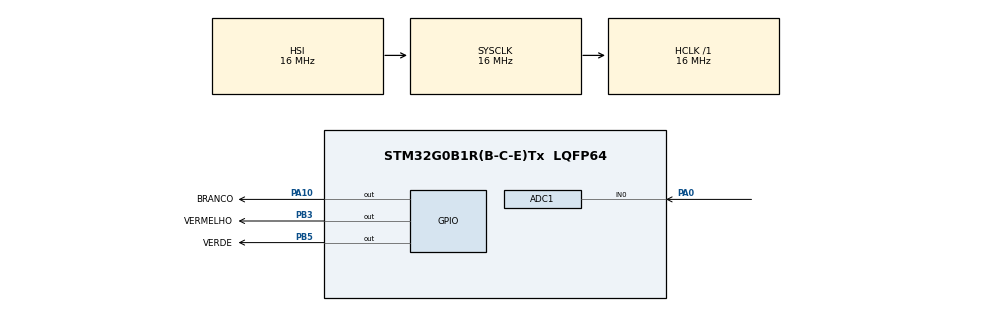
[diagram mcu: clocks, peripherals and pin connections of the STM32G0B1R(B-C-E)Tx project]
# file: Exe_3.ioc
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ADC1.Channel-2\#ChannelRegularConversion=ADC_CHANNEL_0
ADC1.ContinuousConvMode=ENABLE
ADC1.DMAContinuousRequests=ENABLE
ADC1.DiscontinuousConvMode=DISABLE
ADC1.NbrOfConversionFlag=1
ADC1.Rank-2\#ChannelRegularConversion=1
ADC1.SamplingTime-2\#ChannelRegularConversion=ADC_SAMPLINGTIME_COMMON_1
ADC1.SamplingTimeCommon1=ADC_SAMPLETIME_160CYCLES_5
ADC1.SamplingTimeCommon2=ADC_SAMPLETIME_160CYCLES_5
ADC1.SelectedChannel=ADC_CHANNEL_0
ADC1.master=1
Dma.ADC1.0.Direction=DMA_PERIPH_TO_MEMORY
Dma.ADC1.0.EventEnable=DISABLE
Dma.ADC1.0.Instance=DMA1_Channel1
Dma.ADC1.0.MemDataAlignment=DMA_MDATAALIGN_WORD
Dma.ADC1.0.MemInc=DMA_MINC_ENABLE
Dma.ADC1.0.Mode=DMA_CIRCULAR
Dma.ADC1.0.PeriphDataAlignment=DMA_PDATAALIGN_WORD
Dma.ADC1.0.PeriphInc=DMA_PINC_DISABLE
Dma.ADC1.0.Polarity=HAL_DMAMUX_REQ_GEN_RISING
Dma.ADC1.0.Priority=DMA_PRIORITY_LOW
Dma.ADC1.0.RequestNumber=1
Dma.ADC1.0.SignalID=NONE
Dma.ADC1.0.SyncEnable=DISABLE
Dma.ADC1.0.SyncPolarity=HAL_DMAMUX_SYNC_NO_EVENT
Dma.ADC1.0.SyncRequestNumber=1
Dma.ADC1.0.SyncSignalID=NONE
Dma.Request0=ADC1
Mcu.Family=STM32G0
Mcu.Name=STM32G0B1R(B-C-E)Tx
Mcu.Package=LQFP64
NVIC.DMA1_Channel1_IRQn=true\:0\:0\:false\:false\:true\:false\:true
PA0.Mode=IN0
PA0.Signal=ADC1_IN0
PA10.GPIO_Label=BRANCO
PA10.Signal=GPIO_Output
PA13.Mode=Serial_Wire
PA13.Signal=SYS_SWDIO
PA14-BOOT0.Mode=Serial_Wire
PA14-BOOT0.Signal=SYS_SWCLK
PB3.GPIO_Label=VERMELHO
PB3.Signal=GPIO_Output
PB5.GPIO_Label=VERDE
PB5.Signal=GPIO_Output
ProjectManager.HeapSize=0x200
ProjectManager.StackSize=0x400
ProjectManager.TargetToolchain=STM32CubeIDE
RCC.AHBFreq_Value=16000000
RCC.CortexFreq_Value=16000000
RCC.EXTERNAL_CLOCK_VALUE=48000
RCC.HCLKFreq_Value=16000000
RCC.HSE_VALUE=8000000
RCC.HSI48_VALUE=48000000
RCC.HSI_VALUE=16000000
RCC.LSE_VALUE=32768
RCC.SYSCLKFreq_VALUE=16000000
RCC.USBFreq_Value=48000000
RCC.VCOOutputFreq_Value=128000000
VP_SYS_VS_DBSignals.Mode=DisableDeadBatterySignals
board=custom

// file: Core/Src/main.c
/* USER CODE BEGIN Header */
/**
  ******************************************************************************
  * @file           : main.c
  * @brief          : Main program body
  ******************************************************************************
  * @attention
  *
  * Copyright (c) 2022 STMicroelectronics.
  * All rights reserved.
  *
  * This software is licensed under terms that can be found in the LICENSE file
  * in the root directory of this software component.
  * If no LICENSE file comes with this software, it is provided AS-IS.
  *
  ******************************************************************************
  */
/* USER CODE END Header */
#include "main.h"

/* USER CODE BEGIN Includes */
#include <stdint.h>
/* USER CODE END Includes */

/* USER CODE BEGIN PTD */
uint32_t ValorEntrada;
float tensao;
/* USER CODE END PTD */

ADC_HandleTypeDef hadc1;
DMA_HandleTypeDef hdma_adc1;

void SystemClock_Config(void);
static void MX_GPIO_Init(void);
static void MX_DMA_Init(void);
static void MX_ADC1_Init(void);

int main(void)
{

  /* MCU Configuration--------------------------------------------------------*/

  /* Reset of all peripherals, Initializes the Flash interface and the Systick. */
  HAL_Init();

  /* Configure the system clock */
  SystemClock_Config();

  /* Initialize all configured peripherals */
  MX_GPIO_Init();
  MX_DMA_Init();
  MX_ADC1_Init();
  /* USER CODE BEGIN 2 */
  HAL_ADC_Start_DMA(&hadc1, &ValorEntrada, 1);
  /* USER CODE END 2 */

  /* Infinite loop */
  /* USER CODE BEGIN WHILE */
  while (1)
  {
	  tensao = 3.3/4095*ValorEntrada;

	  if(tensao <= 1){
		  HAL_GPIO_WritePin(BRANCO_GPIO_Port, BRANCO_Pin, 0);
	  	  HAL_GPIO_WritePin(VERMELHO_GPIO_Port, VERMELHO_Pin,1);
	  	  HAL_GPIO_WritePin(VERDE_GPIO_Port, VERDE_Pin, 1);
	  }else if(tensao > 1 && tensao < 3){
		  HAL_GPIO_WritePin(BRANCO_GPIO_Port, BRANCO_Pin, 1);
		  HAL_GPIO_WritePin(VERMELHO_GPIO_Port, VERMELHO_Pin, 0);
		  HAL_GPIO_WritePin(VERDE_GPIO_Port, VERDE_Pin, 1);
	  }else if(tensao >=3){
		  HAL_GPIO_WritePin(BRANCO_GPIO_Port, BRANCO_Pin, 1);
		  HAL_GPIO_WritePin(VERMELHO_GPIO_Port, VERMELHO_Pin, 1);
		  HAL_GPIO_WritePin(VERDE_GPIO_Port, VERDE_Pin, 0);
	  }

    /* USER CODE END WHILE */

  }
}

void SystemClock_Config(void)
{
  RCC_OscInitTypeDef RCC_OscInitStruct = {0};
  RCC_ClkInitTypeDef RCC_ClkInitStruct = {0};

  /** Configure the main internal regulator output voltage
  */
  HAL_PWREx_ControlVoltageScaling(PWR_REGULATOR_VOLTAGE_SCALE1);
  /** Initializes the RCC Oscillators according to the specified parameters
  * in the RCC_OscInitTypeDef structure.
  */
  RCC_OscInitStruct.OscillatorType = RCC_OSCILLATORTYPE_HSI;
  RCC_OscInitStruct.HSIState = RCC_HSI_ON;
  RCC_OscInitStruct.HSIDiv = RCC_HSI_DIV1;
  RCC_OscInitStruct.HSICalibrationValue = RCC_HSICALIBRATION_DEFAULT;
  RCC_OscInitStruct.PLL.PLLState = RCC_PLL_NONE;
  if (HAL_RCC_OscConfig(&RCC_OscInitStruct) != HAL_OK)
  {
    Error_Handler();
  }
  /** Initializes the CPU, AHB and APB buses clocks
  */
  RCC_ClkInitStruct.ClockType = RCC_CLOCKTYPE_HCLK|RCC_CLOCKTYPE_SYSCLK
                              |RCC_CLOCKTYPE_PCLK1;
  RCC_ClkInitStruct.SYSCLKSource = RCC_SYSCLKSOURCE_HSI;
  RCC_ClkInitStruct.AHBCLKDivider = RCC_SYSCLK_DIV1;
  RCC_ClkInitStruct.APB1CLKDivider = RCC_HCLK_DIV1;

  if (HAL_RCC_ClockConfig(&RCC_ClkInitStruct, FLASH_LATENCY_0) != HAL_OK)
  {
    Error_Handler();
  }
}

static void MX_ADC1_Init(void)
{

  ADC_ChannelConfTypeDef sConfig = {0};

  /** Configure the global features of the ADC (Clock, Resolution, Data Alignment and number of conversion)
  */
  hadc1.Instance = ADC1;
  hadc1.Init.ClockPrescaler = ADC_CLOCK_SYNC_PCLK_DIV2;
  hadc1.Init.Resolution = ADC_RESOLUTION_12B;
  hadc1.Init.DataAlign = ADC_DATAALIGN_RIGHT;
  hadc1.Init.ScanConvMode = ADC_SCAN_DISABLE;
  hadc1.Init.EOCSelection = ADC_EOC_SINGLE_CONV;
  hadc1.Init.LowPowerAutoWait = DISABLE;
  hadc1.Init.LowPowerAutoPowerOff = DISABLE;
  hadc1.Init.ContinuousConvMode = ENABLE;
  hadc1.Init.NbrOfConversion = 1;
  hadc1.Init.DiscontinuousConvMode = DISABLE;
  hadc1.Init.ExternalTrigConv = ADC_SOFTWARE_START;
  hadc1.Init.ExternalTrigConvEdge = ADC_EXTERNALTRIGCONVEDGE_NONE;
  hadc1.Init.DMAContinuousRequests = ENABLE;
  hadc1.Init.Overrun = ADC_OVR_DATA_PRESERVED;
  hadc1.Init.SamplingTimeCommon1 = ADC_SAMPLETIME_160CYCLES_5;
  hadc1.Init.SamplingTimeCommon2 = ADC_SAMPLETIME_160CYCLES_5;
  hadc1.Init.OversamplingMode = DISABLE;
  hadc1.Init.TriggerFrequencyMode = ADC_TRIGGER_FREQ_HIGH;
  if (HAL_ADC_Init(&hadc1) != HAL_OK)
  {
    Error_Handler();
  }
  /** Configure Regular Channel
  */
  sConfig.Channel = ADC_CHANNEL_0;
  sConfig.Rank = ADC_REGULAR_RANK_1;
  sConfig.SamplingTime = ADC_SAMPLINGTIME_COMMON_1;
  if (HAL_ADC_ConfigChannel(&hadc1, &sConfig) != HAL_OK)
  {
    Error_Handler();
  }

}

static void MX_DMA_Init(void)
{

  /* DMA controller clock enable */
  __HAL_RCC_DMA1_CLK_ENABLE();

  /* DMA interrupt init */
  /* DMA1_Channel1_IRQn interrupt configuration */
  HAL_NVIC_SetPriority(DMA1_Channel1_IRQn, 0, 0);
  HAL_NVIC_EnableIRQ(DMA1_Channel1_IRQn);

}

static void MX_GPIO_Init(void)
{
  GPIO_InitTypeDef GPIO_InitStruct = {0};

  /* GPIO Ports Clock Enable */
  __HAL_RCC_GPIOA_CLK_ENABLE();
  __HAL_RCC_GPIOB_CLK_ENABLE();

  /*Configure GPIO pin Output Level */
  HAL_GPIO_WritePin(BRANCO_GPIO_Port, BRANCO_Pin, GPIO_PIN_RESET);

  /*Configure GPIO pin Output Level */
  HAL_GPIO_WritePin(GPIOB, VERMELHO_Pin|VERDE_Pin, GPIO_PIN_RESET);

  /*Configure GPIO pin : BRANCO_Pin */
  GPIO_InitStruct.Pin = BRANCO_Pin;
  GPIO_InitStruct.Mode = GPIO_MODE_OUTPUT_PP;
  GPIO_InitStruct.Pull = GPIO_NOPULL;
  GPIO_InitStruct.Speed = GPIO_SPEED_FREQ_LOW;
  HAL_GPIO_Init(BRANCO_GPIO_Port, &GPIO_InitStruct);

  /*Configure GPIO pins : VERMELHO_Pin VERDE_Pin */
  GPIO_InitStruct.Pin = VERMELHO_Pin|VERDE_Pin;
  GPIO_InitStruct.Mode = GPIO_MODE_OUTPUT_PP;
  GPIO_InitStruct.Pull = GPIO_NOPULL;
  GPIO_InitStruct.Speed = GPIO_SPEED_FREQ_LOW;
  HAL_GPIO_Init(GPIOB, &GPIO_InitStruct);

}

void Error_Handler(void)
{
  __disable_irq();
  while (1)
  {
  }
}
